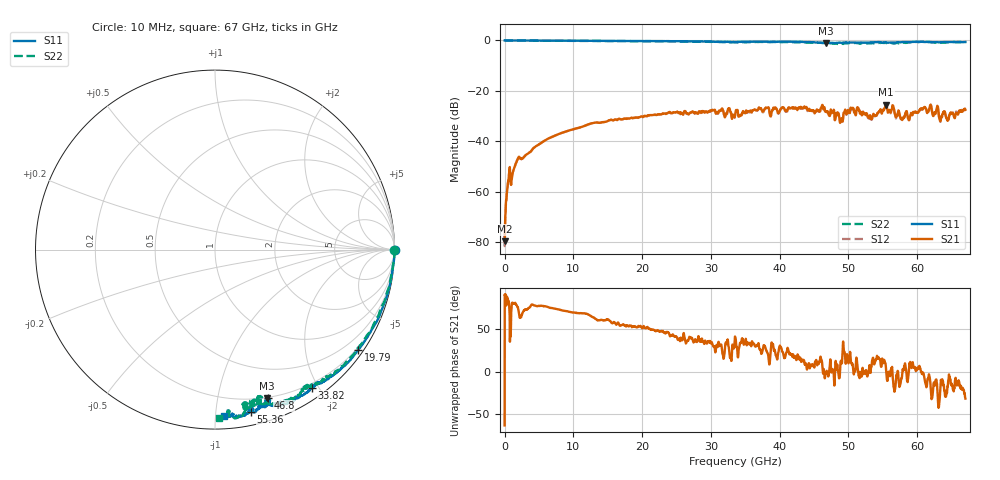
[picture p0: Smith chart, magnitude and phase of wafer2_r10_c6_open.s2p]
!Keysight Technologies,N5227A,US51270248,A.10.65.08
!Date: Tuesday, June 11, 2024 06:12:15
!Correction: S11(Full 2 Port(1,4))
!S41(Full 2 Port(1,4))
!S14(Full 2 Port(1,4))
!S44(Full 2 Port(1,4))
!S2P File: Measurements: S11, S41, S14, S44:
# Hz S  dB  R 50
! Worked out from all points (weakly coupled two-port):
!   3201 points, 10 MHz to 67 GHz, reference 50 ohm
!   highest |S21| = -25.46 dB at 55.49 GHz (marker M1); lowest = -79.7 dB at 30.93 MHz (marker M2)
!   lowest |S11| = -1.1 dB at 46.78 GHz (marker M3), VSWR 15.18, Z = 9.76 - j69.6 ohm
!   |S11| at or under -10 dB: nowhere
!   |S22| runs from -1.4 to 0.0 dB; largest |S21 - S12| = 0.0058
!   S11 on the Smith chart (normalised r, x): 10 MHz: open; 19.79 GHz: 0.14, -3.17; 33.82 GHz: 0.15, -1.91; 46.8 GHz: 0.20, -1.40; 55.36 GHz: 0.10, -1.24; 67 GHz: 0.08, -1.06
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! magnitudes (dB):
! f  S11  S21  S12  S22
! 10 MHz  0.0  -78.8  -74.9  0.0
! 30.93 MHz  0.0  -79.7  -81.5  0.0
! 554.3 MHz  0.0  -55.2  -55.2  0.0
! 1.915 GHz  0.0  -47.1  -47.1  0.0
! 11.19 GHz  -0.1  -34.3  -34.3  -0.2
! 19.79 GHz  -0.2  -30.1  -30.2  -0.3
! 22.35 GHz  -0.2  -29.3  -29.4  -0.3
! 33.51 GHz  -0.7  -29.5  -29.6  -0.7
! 33.82 GHz  -0.6  -27.7  -27.9  -0.7
! 44.68 GHz  -0.7  -27.8  -27.9  -0.9
! 46.78 GHz  -1.1  -28.3  -28.5  -1.1
! 46.8 GHz  -1.1  -28.4  -28.7  -1.1
! 48.91 GHz  -0.9  -31.2  -31.3  -1.2
! 51.49 GHz  -0.9  -27.3  -27.3  -1.1
! 53.18 GHz  -0.7  -29.9  -30.2  -1.2
! 55.36 GHz  -0.7  -26.4  -26.3  -0.9
! 55.49 GHz  -0.7  -25.5  -25.5  -1.0
! 55.84 GHz  -0.9  -28.0  -28.0  -1.0
! 57.85 GHz  -0.7  -31.3  -31.3  -0.9
! 60.85 GHz  -0.5  -27.0  -26.8  -0.5
! 63.42 GHz  -0.7  -31.3  -31.4  -0.8
! 67 GHz  -0.6  -27.5  -27.2  -0.6
